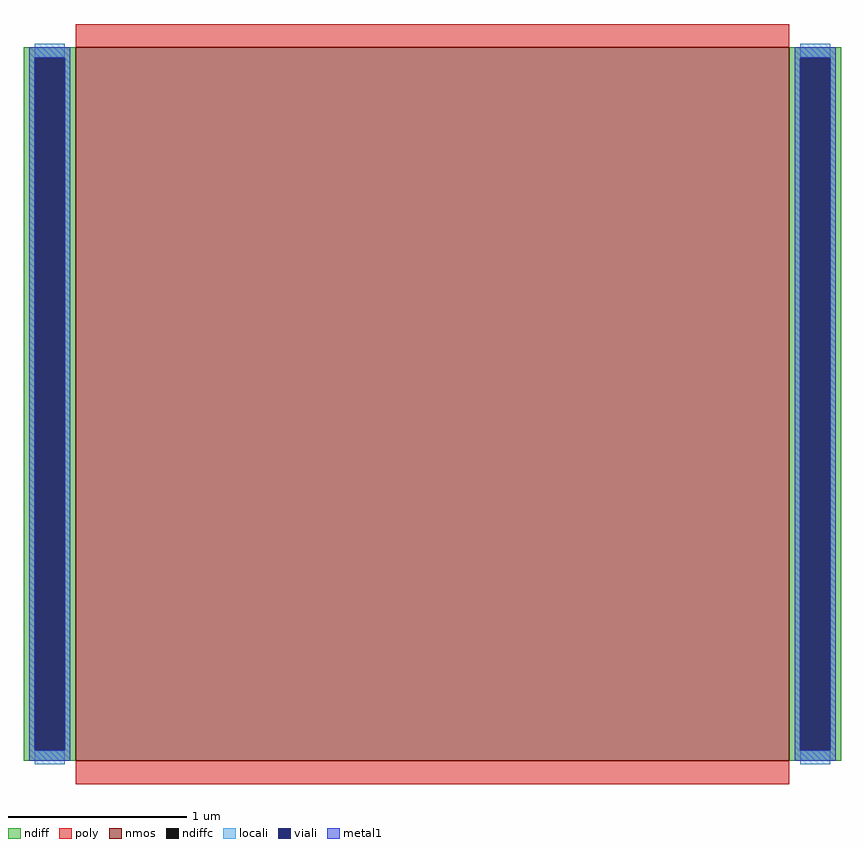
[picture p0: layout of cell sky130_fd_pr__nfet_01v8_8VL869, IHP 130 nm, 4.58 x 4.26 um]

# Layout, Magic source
magic
tech ihp-sg13cmos5l
<< nmos >>
rect -200 -200 200 200
<< ndiff >>
rect -229 194 -200 200
rect -229 -194 -223 194
rect -206 -194 -200 194
rect -229 -200 -200 -194
rect 200 194 229 200
rect 200 -194 206 194
rect 223 -194 229 194
rect 200 -200 229 -194
<< ndiffc >>
rect -223 -194 -206 194
rect 206 -194 223 194
<< poly >>
rect -200 200 200 213
rect -200 -213 200 -200
<< locali >>
rect -223 194 -206 202
rect -223 -202 -206 -194
rect 206 194 223 202
rect 206 -202 223 -194
<< viali >>
rect -223 -194 -206 194
rect 206 -194 223 194
<< metal1 >>
rect -226 194 -203 200
rect -226 -194 -223 194
rect -206 -194 -203 194
rect -226 -200 -203 -194
rect 203 194 226 200
rect 203 -194 206 194
rect 223 -194 226 194
rect 203 -200 226 -194
<< properties >>
string gencell sky130_fd_pr__nfet_01v8
string library sky130
string parameters w 4 l 4 m 1 nf 1 diffcov 100 polycov 100 guard 0 glc 0 grc 0 gtc 0 gbc 0 tbcov 100 rlcov 100 topc 0 botc 0 poverlap 0 doverlap 0 lmin 0.15 wmin 0.42 compatible {sky130_fd_pr__nfet_01v8 sky130_fd_pr__nfet_01v8_lvt  sky130_fd_bs_flash__special_sonosfet_star  sky130_fd_pr__nfet_g5v0d10v5 sky130_fd_pr__nfet_05v0_nvt  sky130_fd_pr__nfet_03v3_nvt} full_metal 0 viasrc 100 viadrn 100 viagate 100 viagb 0 viagr 0 viagl 0 viagt 0
<< end >>
